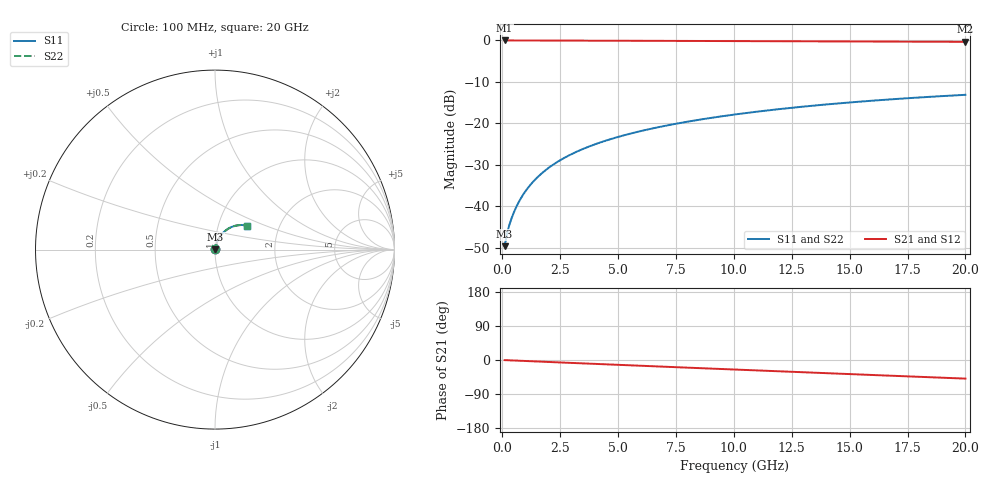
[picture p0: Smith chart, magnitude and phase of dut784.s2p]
! Touchstone file exported from HFSS 2026.1.0
!  File:  C:/ffzhzh/LocalFiles/Ansys_Project_Files/temp_train_BSMRDL_784_1783169428_43440.aedt
!  Generated:  08:51:48 PM Jul  4, 2026
!  Design:  BSMRDL
!  Project:  temp_train_BSMRDL_784_1783169428_43440
! Variables:
!  h_bsmrdl = 4.88um
!  h_ox = 20um
!  h_rdl = 5um
!  h_sub = 80um
!  h_tmrdl = 5um
!  h_tsv = 80um
!  h_via = 3um
!  l_bsmrdl = 841.91um
!  l_sub = 1241.91um
!  l_tmrdl = 200um
!  m_sub = 200um
!  pitch = 36.64um
!  r_tsv = 6um
!  s_tmrdl = 10um
!  w_bsmrdl = 24.65um
!  w_sub = 500um
!  w_tmrdl = 12um
!  x_tsv_center1 = 206um
!  x_tsv_center2 = 1072.56um
!  x_tsv_center3 = 1284.56um
!  x_tsv_center4 = 2151.12um
!  x_tsv_center5 = 2363.12um
!  x_tsv_center6 = 3229.68um
# GHz S MA R 50.000000
! Terminal data exported
! Port[1] = BSM_RDL1_1_T1
! Port[2] = BSM_RDL1_1_T2
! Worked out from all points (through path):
!   200 points, 100 MHz to 20 GHz, reference 50 ohm
!   highest |S21| = -0.02 dB at 100 MHz (marker M1); lowest = -0.4 dB at 20 GHz (marker M2)
!   group delay of S21, straight-line fit = 6.8 ps
!   lowest |S11| = -49.6 dB at 100 MHz (marker M3), VSWR 1.01, Z = 50.3 + j0.187 ohm
!   |S11| at or under -10 dB: start of sweep to end of sweep
!   |S22| runs from -49.6 to -13.1 dB; largest |S21 - S12| = 2e-14
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0.1  0.003329 34.0  0.9972 -0.3  0.9972 -0.3  0.003329 34.0
! Gamma 0 0 0 0
! Port Impedance 50 0 50 0
0.2  0.00464 48.0  0.9969 -0.6  0.9969 -0.6  0.00464 48.0
0.3  0.005932 55.2  0.9967 -0.8  0.9967 -0.8  0.005932 55.2
0.4  0.007209 60.1  0.9965 -1.1  0.9965 -1.1  0.007209 60.1
0.5  0.008501 63.7  0.9964 -1.3  0.9964 -1.3  0.008501 63.7
0.6  0.009817 66.5  0.9963 -1.6  0.9963 -1.6  0.009817 66.5
0.8  0.01251 70.2  0.9961 -2.1  0.9961 -2.1  0.01251 70.2
1  0.01526 72.4  0.996 -2.6  0.996 -2.6  0.01526 72.4
1.2  0.01804 73.8  0.9958 -3.1  0.9958 -3.1  0.01804 73.8
1.4  0.02083 74.7  0.9956 -3.6  0.9956 -3.6  0.02083 74.6
1.7  0.02502 75.3  0.9952 -4.4  0.9952 -4.4  0.02502 75.3
2.2  0.03194 75.4  0.9946 -5.7  0.9946 -5.7  0.03195 75.4
2.8  0.04013 74.8  0.9936 -7.2  0.9936 -7.2  0.04014 74.8
3.5  0.04948 73.7  0.9925 -9.0  0.9925 -9.0  0.04948 73.6
4.2  0.05859 72.3  0.9912 -10.8  0.9912 -10.8  0.0586 72.3
5  0.06876 70.7  0.9897 -12.8  0.9897 -12.8  0.06877 70.6
6.8  0.09082 66.8  0.9864 -17.2  0.9864 -17.2  0.09083 66.7
8.3  0.1084 63.5  0.9835 -20.9  0.9835 -20.9  0.1085 63.5
10.1  0.1287 59.6  0.98 -25.3  0.98 -25.3  0.1288 59.5
13.4  0.1634 52.2  0.9733 -33.4  0.9733 -33.4  0.1634 52.1
16.7  0.1943 44.8  0.9665 -41.3  0.9665 -41.3  0.1943 44.6
20  0.221 37.3  0.9599 -49.1  0.9599 -49.1  0.2211 37.1
